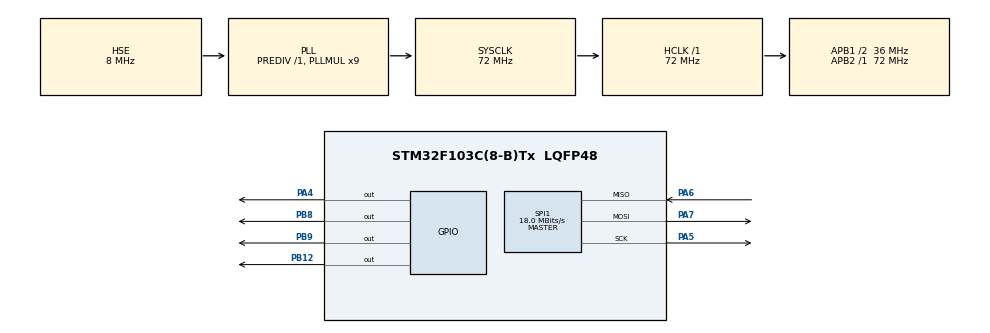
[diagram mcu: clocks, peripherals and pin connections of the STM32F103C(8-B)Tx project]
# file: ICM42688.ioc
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Mcu.Family=STM32F1
Mcu.Name=STM32F103C(8-B)Tx
Mcu.Package=LQFP48
NVIC.PriorityGroup=NVIC_PRIORITYGROUP_4
NVIC.TIM2_IRQn=true\:0\:0\:false\:false\:true\:true\:true\:true
PA13.Mode=Serial_Wire
PA13.Signal=SYS_JTMS-SWDIO
PA14.Mode=Serial_Wire
PA14.Signal=SYS_JTCK-SWCLK
PA4.GPIO_ModeDefaultOutputPP=GPIO_MODE_OUTPUT_PP
PA4.GPIO_PuPd=GPIO_PULLUP
PA4.GPIO_Speed=GPIO_SPEED_FREQ_HIGH
PA4.PinState=GPIO_PIN_SET
PA4.Signal=GPIO_Output
PA5.Mode=Full_Duplex_Master
PA5.Signal=SPI1_SCK
PA6.Mode=Full_Duplex_Master
PA6.Signal=SPI1_MISO
PA7.Mode=Full_Duplex_Master
PA7.Signal=SPI1_MOSI
PB12.GPIO_ModeDefaultOutputPP=GPIO_MODE_OUTPUT_PP
PB12.GPIO_PuPd=GPIO_PULLUP
PB12.GPIO_Speed=GPIO_SPEED_FREQ_HIGH
PB12.PinState=GPIO_PIN_SET
PB12.Signal=GPIO_Output
PB8.GPIO_ModeDefaultOutputPP=GPIO_MODE_OUTPUT_OD
PB8.GPIO_PuPd=GPIO_NOPULL
PB8.GPIO_Speed=GPIO_SPEED_FREQ_LOW
PB8.Signal=GPIO_Output
PB9.GPIO_ModeDefaultOutputPP=GPIO_MODE_OUTPUT_OD
PB9.GPIO_PuPd=GPIO_NOPULL
PB9.GPIO_Speed=GPIO_SPEED_FREQ_LOW
PB9.Signal=GPIO_Output
PD0-OSC_IN.Mode=HSE-External-Oscillator
PD0-OSC_IN.Signal=RCC_OSC_IN
PD1-OSC_OUT.Mode=HSE-External-Oscillator
PD1-OSC_OUT.Signal=RCC_OSC_OUT
ProjectManager.HeapSize=0x200
ProjectManager.StackSize=0x400
ProjectManager.TargetToolchain=MDK-ARM V5.32
RCC.AHBFreq_Value=72000000
RCC.APB1CLKDivider=RCC_HCLK_DIV2
RCC.APB1Freq_Value=36000000
RCC.APB1TimFreq_Value=72000000
RCC.APB2Freq_Value=72000000
RCC.APB2TimFreq_Value=72000000
RCC.HCLKFreq_Value=72000000
RCC.PLLMUL=RCC_PLL_MUL9
RCC.PLLSourceVirtual=RCC_PLLSOURCE_HSE
RCC.SYSCLKFreq_VALUE=72000000
RCC.SYSCLKSource=RCC_SYSCLKSOURCE_PLLCLK
RCC.USBFreq_Value=72000000
SPI1.BaudRatePrescaler=SPI_BAUDRATEPRESCALER_4
SPI1.CalculateBaudRate=18.0 MBits/s
SPI1.Direction=SPI_DIRECTION_2LINES
SPI1.Mode=SPI_MODE_MASTER
SPI1.VirtualType=VM_MASTER
TIM2.AutoReloadPreload=TIM_AUTORELOAD_PRELOAD_ENABLE
TIM2.Period=1000-1
TIM2.Prescaler=720-1
VP_TIM2_VS_ClockSourceINT.Mode=Internal
board=custom

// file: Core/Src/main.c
/* USER CODE BEGIN Header */
/**
  ******************************************************************************
  * @file           : main.c
  * @brief          : Main program body
  ******************************************************************************
  * @attention
  *
  * Copyright (c) 2024 STMicroelectronics.
  * All rights reserved.
  *
  * This software is licensed under terms that can be found in the LICENSE file
  * in the root directory of this software component.
  * If no LICENSE file comes with this software, it is provided AS-IS.
  *
  ******************************************************************************
  */
/* USER CODE END Header */
#include "main.h"
#include "spi.h"
#include "tim.h"
#include "gpio.h"

/* USER CODE BEGIN Includes */
#include "ICM42688.h"
#include "OLED.h"
#include "mpu6050.h"
/* USER CODE END Includes */

/* USER CODE BEGIN PTD */
uint8_t ID;
uint8_t ID1;
uint8_t message;
uint8_t send=0x75;
uint8_t send1=0xF5;
uint8_t TX[2]={0x75,0x00};
uint8_t RX[2]={0};
int8_t re=0;
 int16_t AX, AY, AZ, GX, GY, GZ;//定义用于存放各个数据的变量
float ax,ay, az, gx, gy,gz;
float dt;
icm42688RawData_t get,get1;
//float Roll1 = 0.0;
//float Pitch1 = 0.0;
//float Yaw1 = 0.0;
float Roll;
float Pitch;
float Yaw;
float dt;
uint32_t tick;
uint32_t last_tick;

float a;

YawProcessor_t get_yaw_variable;
/* USER CODE END PTD */

void SystemClock_Config(void);

/* USER CODE BEGIN 0 */
uint8_t ICM42688_SPI_Receive(uint8_t data) {
    uint8_t receivedData;
	  HAL_GPIO_WritePin(GPIOB, GPIO_PIN_12,GPIO_PIN_RESET);
    HAL_SPI_Transmit(&hspi1,&send,1,HAL_MAX_DELAY);
    HAL_SPI_Receive(&hspi1,&receivedData,1,HAL_MAX_DELAY);
	  HAL_GPIO_WritePin(GPIOB,GPIO_PIN_12,GPIO_PIN_SET);
	  return receivedData;
}
void HAL_TIM_PeriodElapsedCallback(TIM_HandleTypeDef *htim)
{
	if(htim == &htim2)
	{
//		ComplementaryFilter(ax, ay, az, gx, gy, 0.01);
//		ComplementaryFilter_YAW(gz,0.01);
		get_yaw(&get_yaw_variable,a);
	}
}
//uint8_t ICM42688_ReadReg(uint8_t reg) {
//    uint8_t regval = 0;
//    HAL_GPIO_WritePin(GPIOB, GPIO_PIN_12,GPIO_PIN_RESET);
//    reg |= 0x80;
//    ICM42688_SPI_Transfer(reg);
//    regval = ICM42688_SPI_Transfer(0x00);
//    HAL_GPIO_WritePin(GPIOB, GPIO_PIN_12,GPIO_PIN_SET);
//    return regval;
//}
/* USER CODE END 0 */

int main(void)
{

  /* MCU Configuration--------------------------------------------------------*/

  /* Reset of all peripherals, Initializes the Flash interface and the Systick. */
  HAL_Init();

  /* Configure the system clock */
  SystemClock_Config();

  /* Initialize all configured peripherals */
  MX_GPIO_Init();
  MX_SPI1_Init();
  MX_TIM2_Init();
  /* USER CODE BEGIN 2 */
	bsp_Icm42688RegCfg();
	HAL_TIM_Base_Start_IT(&htim2);
//  CalibrateGyro(100);
	//  OLED_Init();
//	HAL_GPIO_WritePin(GPIOA,GPIO_PIN_4,GPIO_PIN_RESET);
//  HAL_SPI_Transmit(&hspi1,&send1,1,HAL_MAX_DELAY);
//  HAL_SPI_Receive(&hspi1,RX,1,HAL_MAX_DELAY);
//  HAL_GPIO_WritePin(GPIOA,GPIO_PIN_4,GPIO_PIN_SET);
//	ID=RX[0];
//  ID1=icm42688_read_reg(ICM42688_WHO_AM_I);
//	HAL_Delay(10);
	last_tick = HAL_GetTick();
  /* USER CODE END 2 */

  /* Infinite loop */
  /* USER CODE BEGIN WHILE */
  while (1)
  {
		//bsp_IcmGetAccelerometer(&get);
//		HAL_Delay(10);
		//bsp_IcmGetGyroscope(&get1);
//		OLED_ShowNum(1, 1, 12345, 5);
    a=get_gyro_z();
//		bsp_GetRawData(&AX, &AY,&AZ,&GX,&GY,&GZ);
//		ax = (float)AX;
//    ay = (float)AY;
//    az = (float)AZ;
//		gx = (float)GX;
//    gy = (float)GY;
//		gz = (float)GZ;
//	  tick = HAL_GetTick();
//		dt=(tick-last_tick)/1000.0;
//		HAL_Delay(10);
//		last_tick=tick;
		  OLED_ShowSignedNum(1,1,get_yaw_variable.yaw,5);
//		ComplementaryFilter(ax, ay, az, gx, gy, 0.01);
//		HAL_Delay(10);
//		ComplementaryFilter_YAW(gz,0.01);
//		HAL_Delay(10);
//		Yaw1+=AX*(tick-last_tick);

//		icm42688_GetDataAcc(&AX, &AY, &AZ);
//		icm42688_GetDataGyro(&GX, &GY, &GZ);
//			OLED_ShowNum(4, 1, 131, 3);
//		OLED_ShowHexNum(2, 1,get.z, 2);
    /* USER CODE END WHILE */

  }
}

void SystemClock_Config(void)
{
  RCC_OscInitTypeDef RCC_OscInitStruct = {0};
  RCC_ClkInitTypeDef RCC_ClkInitStruct = {0};

  /** Initializes the RCC Oscillators according to the specified parameters
  * in the RCC_OscInitTypeDef structure.
  */
  RCC_OscInitStruct.OscillatorType = RCC_OSCILLATORTYPE_HSE;
  RCC_OscInitStruct.HSEState = RCC_HSE_ON;
  RCC_OscInitStruct.HSEPredivValue = RCC_HSE_PREDIV_DIV1;
  RCC_OscInitStruct.HSIState = RCC_HSI_ON;
  RCC_OscInitStruct.PLL.PLLState = RCC_PLL_ON;
  RCC_OscInitStruct.PLL.PLLSource = RCC_PLLSOURCE_HSE;
  RCC_OscInitStruct.PLL.PLLMUL = RCC_PLL_MUL9;
  if (HAL_RCC_OscConfig(&RCC_OscInitStruct) != HAL_OK)
  {
    Error_Handler();
  }

  /** Initializes the CPU, AHB and APB buses clocks
  */
  RCC_ClkInitStruct.ClockType = RCC_CLOCKTYPE_HCLK|RCC_CLOCKTYPE_SYSCLK
                              |RCC_CLOCKTYPE_PCLK1|RCC_CLOCKTYPE_PCLK2;
  RCC_ClkInitStruct.SYSCLKSource = RCC_SYSCLKSOURCE_PLLCLK;
  RCC_ClkInitStruct.AHBCLKDivider = RCC_SYSCLK_DIV1;
  RCC_ClkInitStruct.APB1CLKDivider = RCC_HCLK_DIV2;
  RCC_ClkInitStruct.APB2CLKDivider = RCC_HCLK_DIV1;

  if (HAL_RCC_ClockConfig(&RCC_ClkInitStruct, FLASH_LATENCY_2) != HAL_OK)
  {
    Error_Handler();
  }
}

void Error_Handler(void)
{
  __disable_irq();
  while (1)
  {
  }
}
